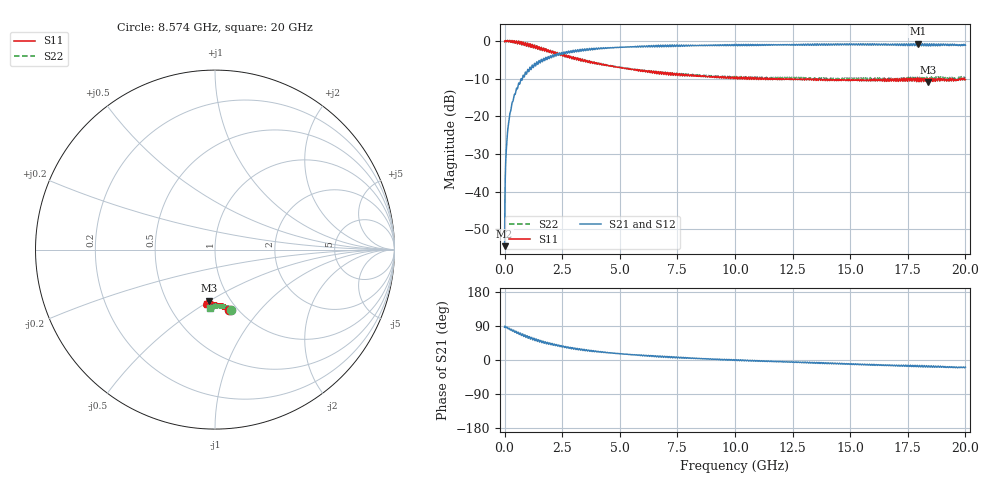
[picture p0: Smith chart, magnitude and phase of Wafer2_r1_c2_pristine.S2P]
!  2-Port S-parameters saved by WinCal
! VAR MeasName=S-Parameters (CALIBRATED_DATA) read from VNA (P5004A)
! VAR MeasDate=24/04/2024 15:10:43
! VAR NAME=Wafer2_r1_c2_pristine
! VAR FILENAME=Wafer2_r1_c2_pristine.S2P
! VAR DATE=24/04/2024 15:10:43
! VAR PHYS_PORTS=1,2
! VAR ObjTypeName=DATASET
! VAR IndexType=Frequency
# Hz S MA R 50
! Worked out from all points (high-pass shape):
!   4999 points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, 4.01 MHz to 20 GHz, reference 50 ohm
!   highest |S21| = -0.67 dB at 17.94 GHz (marker M1); lowest = -54.5 dB at 4.01 MHz (marker M2)
!   |S21| within 3 dB of the highest: 2.258 GHz to 2.314 GHz (56.01 MHz wide, 2.45 % of centre); 2.345 GHz to end of sweep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
!   lowest |S11| = -10.9 dB at 18.39 GHz (marker M3), VSWR 1.80, Z = 40.2 - j24.8 ohm
!   |S11| at or under -10 dB: 12.09 GHz to 17.13 GHz (5.046 GHz wide, 34.5 % of centre); 18.95 GHz to 19.34 GHz (384.7 MHz wide, 2.01 % of centre); 19.35 GHz to 19.82 GHz (470.3 MHz wide, 2.4 % of centre)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
!   |S22| runs from -10.3 to 0.1 dB; largest |S21 - S12| = 0.02
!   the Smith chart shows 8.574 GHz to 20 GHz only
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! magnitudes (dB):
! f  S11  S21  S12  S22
! 4.01 MHz  -0.1  -54.5  -54.4  -0.1
! 44.02 MHz  0.1  -33.5  -33.6  0.1
! 112 MHz  0.0  -25.8  -25.7  0.0
! 140 MHz  0.1  -23.6  -23.7  0.1
! 180 MHz  -0.2  -21.9  -21.9  -0.2
! 248.1 MHz  -0.1  -18.9  -19.0  0.0
! 348.1 MHz  -0.2  -16.2  -16.3  -0.2
! 464.1 MHz  -0.6  -14.1  -14.1  -0.6
! 624.1 MHz  -0.2  -11.2  -11.2  -0.2
! 824.2 MHz  -0.5  -9.2  -9.2  -0.5
! 1.036 GHz  -1.2  -8.0  -8.0  -1.2
! 1.556 GHz  -2.3  -5.7  -5.7  -2.3
! 2.364 GHz  -3.3  -3.4  -3.4  -3.3
! 3.341 GHz  -5.2  -2.6  -2.6  -5.1
! 4.809 GHz  -6.9  -1.7  -1.7  -6.7
! 6.673 GHz  -8.1  -1.1  -1.1  -8.2
! 10 GHz  -9.9  -1.2  -1.3  -9.7
! 13.33 GHz  -10.3  -1.1  -1.1  -9.9
! 16.67 GHz  -10.6  -1.0  -1.0  -9.9
! 17.94 GHz  -9.8  -0.7  -0.6  -9.9
! 18.39 GHz  -10.9  -1.3  -1.3  -10.1
! 20 GHz  -10.3  -1.1  -1.1  -9.7
